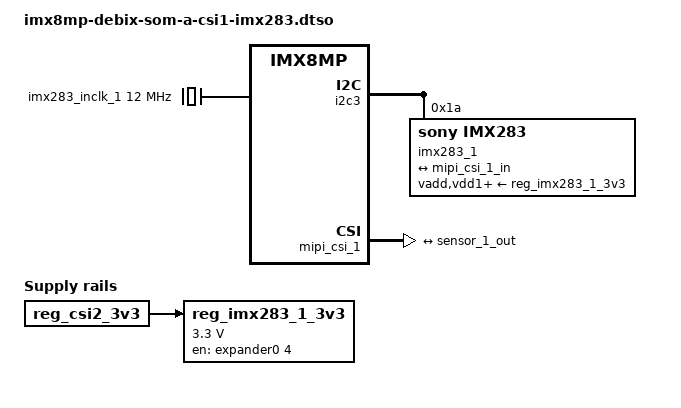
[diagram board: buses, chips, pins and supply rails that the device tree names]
// SPDX-License-Identifier: (GPL-2.0+ OR MIT)
/*
 * Copyright 2023 Ideas on Board Oy
 */

/dts-v1/;
/plugin/;

#include "imx8mp-debix-som-a-csi1.dtsi"

&{/} {
	/* 24 MHz Crystal on the camera module */
	imx283_inclk_1: imx283_inclk_12m {
		compatible = "fixed-clock";
		#clock-cells = <0>;
		status = "okay";
		clock-frequency = <12000000>;
	};

	reg_imx283_1_3v3: regulator-imx283_1-vdd3v3 {
		compatible = "regulator-fixed";
		pinctrl-names = "default";
		regulator-min-microvolt = <3300000>;
		regulator-max-microvolt = <3300000>;
		regulator-name = "IMX283_1_POWER_EN";
		gpio = <&expander0 4 GPIO_ACTIVE_HIGH>;
		vin-supply = <&reg_csi2_3v3>;
		startup-delay-us = <300000>;
		enable-active-high;
	};
};

&i2c3 {
	imx283_1: sensor@1a {
		compatible = "sony,imx283";
		reg = <0x1a>;

		clocks = <&imx283_inclk_1>;
		clock-names = "xclk";

		rotation = <180>;
		orientation = <0>;

		status = "okay";

		/* Arducam IMX283 module uses *only* the 3v3 line */
		vadd-supply = <&reg_imx283_1_3v3>;
		vdd1-supply = <&reg_imx283_1_3v3>;
		vdd2-supply = <&reg_imx283_1_3v3>;

		port {
			sensor_1_out: endpoint {
				remote-endpoint = <&mipi_csi_1_in>;
				clock-lanes = <0>;
				data-lanes = <1 2 3 4>;
				link-frequencies = /bits/ 64 <360000000>;
			};
		};
	};
};

&mipi_csi_1 {
	status = "okay";

	ports {
		port@0 {
			mipi_csi_1_in: endpoint {
				remote-endpoint = <&sensor_1_out>;
				clock-lanes = <0>;
				data-lanes = <1 2 3 4>;
			};
		};
	};
};
